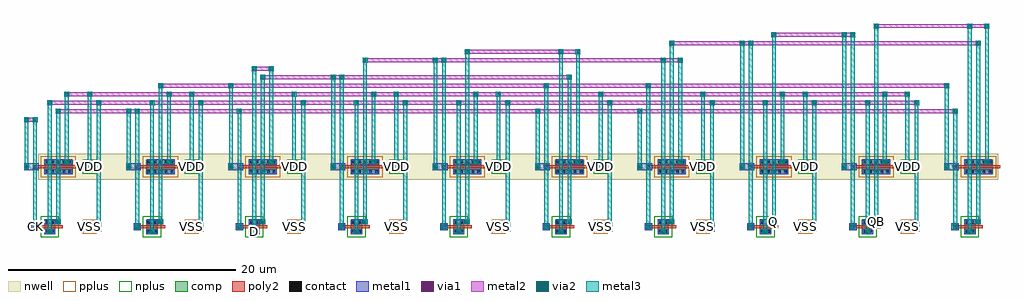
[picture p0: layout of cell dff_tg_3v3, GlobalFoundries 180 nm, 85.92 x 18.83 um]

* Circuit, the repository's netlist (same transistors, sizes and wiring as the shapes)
* Extracted by KLayout with GF180MCU LVS runset on : 09/09/2026 01:10

.SUBCKT dff_tg_3v3 VSS D Q QB VDD CK
M$1 VDD \$8 Q VDD pfet_03v3 L=0.28U W=2.5U AS=1.25P AD=1.25P PS=6U PD=6U
M$2 \$7 \$3 \$5 VDD pfet_03v3 L=0.28U W=2.5U AS=1.25P AD=1.25P PS=6U PD=6U
M$3 VDD \$5 \$6 VDD pfet_03v3 L=0.28U W=2.5U AS=1.25P AD=1.25P PS=6U PD=6U
M$4 VDD CK \$3 VDD pfet_03v3 L=0.28U W=2.5U AS=1.25P AD=1.25P PS=6U PD=6U
M$5 VDD \$3 \$4 VDD pfet_03v3 L=0.28U W=2.5U AS=1.25P AD=1.25P PS=6U PD=6U
M$6 D \$4 \$5 VDD pfet_03v3 L=0.28U W=2.5U AS=1.25P AD=1.25P PS=6U PD=6U
M$7 \$6 \$3 \$8 VDD pfet_03v3 L=0.28U W=2.5U AS=1.25P AD=1.25P PS=6U PD=6U
M$8 VDD \$6 \$7 VDD pfet_03v3 L=0.28U W=2.5U AS=1.25P AD=1.25P PS=6U PD=6U
M$9 VDD Q QB VDD pfet_03v3 L=0.28U W=2.5U AS=1.25P AD=1.25P PS=6U PD=6U
M$10 QB \$4 \$8 VDD pfet_03v3 L=0.28U W=2.5U AS=1.25P AD=1.25P PS=6U PD=6U
M$11 \$8 \$3 QB VSS nfet_03v3 L=0.28U W=1U AS=0.5P AD=0.5P PS=3U PD=3U
M$12 QB Q VSS VSS nfet_03v3 L=0.28U W=1U AS=0.5P AD=0.5P PS=3U PD=3U
M$13 Q \$8 VSS VSS nfet_03v3 L=0.28U W=1U AS=0.5P AD=0.5P PS=3U PD=3U
M$14 \$6 \$5 VSS VSS nfet_03v3 L=0.28U W=1U AS=0.5P AD=0.5P PS=3U PD=3U
M$15 \$3 CK VSS VSS nfet_03v3 L=0.28U W=1U AS=0.5P AD=0.5P PS=3U PD=3U
M$16 \$8 \$4 \$6 VSS nfet_03v3 L=0.28U W=1U AS=0.5P AD=0.5P PS=3U PD=3U
M$17 \$4 \$3 VSS VSS nfet_03v3 L=0.28U W=1U AS=0.5P AD=0.5P PS=3U PD=3U
M$18 \$5 \$3 D VSS nfet_03v3 L=0.28U W=1U AS=0.5P AD=0.5P PS=3U PD=3U
M$19 \$7 \$6 VSS VSS nfet_03v3 L=0.28U W=1U AS=0.5P AD=0.5P PS=3U PD=3U
M$20 \$5 \$4 \$7 VSS nfet_03v3 L=0.28U W=1U AS=0.5P AD=0.5P PS=3U PD=3U
.ENDS dff_tg_3v3

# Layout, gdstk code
import gdstk
lib = gdstk.Library(unit=1e-6, precision=1e-09)
def R(c, l, rs):  # rectangles x0, y0, x1, y1
    for r in rs: c.add(gdstk.rectangle(r[:2], r[2:], *l))
def A(c, l, x, y, w, h, nx, ny, dx, dy):  # array of equal rectangles
    R(c, l, [(x+i*dx, y+j*dy, x+i*dx+w, y+j*dy+h) for i in range(nx) for j in range(ny)])
nwell = (21, 0)
comp = (22, 0)
poly2 = (30, 0)
pplus = (31, 0)
nplus = (32, 0)
contact = (33, 0)
metal1 = (34, 0)
via1 = (35, 0)
metal2 = (36, 0)
via2 = (38, 0)
metal3 = (42, 0)

dff_tg_3v3 = lib.new_cell('dff_tg_3v3')
R(dff_tg_3v3, nwell, [(-0.5,4.78,84,7.06)])
A(dff_tg_3v3, comp, 0, 0, 1, 1.28, 10, 1, 9, 0)
A(dff_tg_3v3, comp, 3.7, 0.34, 0.6, 0.6, 9, 2, 9, 5.28)
A(dff_tg_3v3, comp, 0, 5.28, 2.5, 1.28, 10, 1, 9, 0)
A(dff_tg_3v3, poly2, -1, 0.44, 0.4, 0.4, 10, 2, 9, 5.28)
A(dff_tg_3v3, poly2, -0.65, 0.5, 2.3, 0.28, 10, 1, 9, 0)
A(dff_tg_3v3, poly2, -0.65, 5.78, 3.8, 0.28, 10, 1, 9, 0)
A(dff_tg_3v3, pplus, 3.4, 0.04, 1.2, 1.2, 9, 1, 9, 0)
A(dff_tg_3v3, pplus, -0.3, 4.98, 3.1, 1.88, 10, 1, 9, 0)
A(dff_tg_3v3, nplus, -0.3, -0.3, 1.6, 1.88, 10, 1, 9, 0)
A(dff_tg_3v3, nplus, 3.4, 5.32, 1.2, 1.2, 9, 1, 9, 0)
A(dff_tg_3v3, contact, 0.14, 5.38, 0.22, 0.22, 5, 2, 0.5, 0.86)
A(dff_tg_3v3, contact, 9.14, 5.38, 0.22, 0.22, 5, 2, 0.5, 0.86)
A(dff_tg_3v3, contact, 18.14, 5.38, 0.22, 0.22, 5, 2, 0.5, 0.86)
A(dff_tg_3v3, contact, 27.14, 5.38, 0.22, 0.22, 5, 2, 0.5, 0.86)
A(dff_tg_3v3, contact, 36.14, 5.38, 0.22, 0.22, 5, 2, 0.5, 0.86)
A(dff_tg_3v3, contact, 45.14, 5.38, 0.22, 0.22, 5, 2, 0.5, 0.86)
A(dff_tg_3v3, contact, 54.14, 5.38, 0.22, 0.22, 5, 2, 0.5, 0.86)
A(dff_tg_3v3, contact, 63.14, 5.38, 0.22, 0.22, 5, 2, 0.5, 0.86)
A(dff_tg_3v3, contact, 72.14, 5.38, 0.22, 0.22, 5, 2, 0.5, 0.86)
A(dff_tg_3v3, contact, 81.14, 5.38, 0.22, 0.22, 5, 2, 0.5, 0.86)
R(dff_tg_3v3, contact, [(0.14,0.1,0.36,0.32), (0.64,0.1,0.86,0.32), (9.14,0.1,9.36,0.32), (9.64,0.1,9.86,0.32), (18.14,0.1,18.36,0.32), (18.64,0.1,18.86,0.32), (27.14,0.1,27.36,0.32), (27.64,0.1,27.86,0.32), (36.14,0.1,36.36,0.32), (36.64,0.1,36.86,0.32), (45.14,0.1,45.36,0.32), (45.64,0.1,45.86,0.32), (54.14,0.1,54.36,0.32), (54.64,0.1,54.86,0.32), (63.14,0.1,63.36,0.32), (63.64,0.1,63.86,0.32), (72.14,0.1,72.36,0.32), (72.64,0.1,72.86,0.32), (81.14,0.1,81.36,0.32), (81.64,0.1,81.86,0.32), (-0.91,0.53,-0.69,0.75), (3.89,0.53,4.11,0.75), (8.09,0.53,8.31,0.75), (12.89,0.53,13.11,0.75), (17.09,0.53,17.31,0.75), (21.89,0.53,22.11,0.75), (26.09,0.53,26.31,0.75), (30.89,0.53,31.11,0.75), (35.09,0.53,35.31,0.75), (39.89,0.53,40.11,0.75), (44.09,0.53,44.31,0.75), (48.89,0.53,49.11,0.75), (53.09,0.53,53.31,0.75), (57.89,0.53,58.11,0.75), (62.09,0.53,62.31,0.75), (66.89,0.53,67.11,0.75), (71.09,0.53,71.31,0.75), (75.89,0.53,76.11,0.75), (80.09,0.53,80.31,0.75), (0.14,0.96,0.36,1.18), (0.64,0.96,0.86,1.18), (9.14,0.96,9.36,1.18), (9.64,0.96,9.86,1.18), (18.14,0.96,18.36,1.18), (18.64,0.96,18.86,1.18), (27.14,0.96,27.36,1.18), (27.64,0.96,27.86,1.18), (36.14,0.96,36.36,1.18), (36.64,0.96,36.86,1.18), (45.14,0.96,45.36,1.18), (45.64,0.96,45.86,1.18), (54.14,0.96,54.36,1.18), (54.64,0.96,54.86,1.18), (63.14,0.96,63.36,1.18), (63.64,0.96,63.86,1.18), (72.14,0.96,72.36,1.18), (72.64,0.96,72.86,1.18), (81.14,0.96,81.36,1.18), (81.64,0.96,81.86,1.18), (-0.91,5.81,-0.69,6.03), (3.89,5.81,4.11,6.03), (8.09,5.81,8.31,6.03), (12.89,5.81,13.11,6.03), (17.09,5.81,17.31,6.03), (21.89,5.81,22.11,6.03), (26.09,5.81,26.31,6.03), (30.89,5.81,31.11,6.03), (35.09,5.81,35.31,6.03), (39.89,5.81,40.11,6.03), (44.09,5.81,44.31,6.03), (48.89,5.81,49.11,6.03), (53.09,5.81,53.31,6.03), (57.89,5.81,58.11,6.03), (62.09,5.81,62.31,6.03), (66.89,5.81,67.11,6.03), (71.09,5.81,71.31,6.03), (75.89,5.81,76.11,6.03), (80.09,5.81,80.31,6.03)])
A(dff_tg_3v3, metal1, 0.02, -0.02, 0.96, 0.46, 10, 2, 9, 0.86)
A(dff_tg_3v3, metal1, 0.28, -0.01, 0.44, 0.44, 10, 1, 9, 0)
A(dff_tg_3v3, metal1, 3.58, 0.22, 1.44, 0.84, 9, 1, 9, 0)
A(dff_tg_3v3, metal1, 3.58, 0.22, 0.84, 0.84, 9, 2, 9, 5.28)
A(dff_tg_3v3, metal1, -1.12, 0.32, 0.64, 0.64, 10, 2, 9, 5.28)
A(dff_tg_3v3, metal1, 0.02, 0.84, 1.45, 0.46, 10, 1, 9, 0)
A(dff_tg_3v3, metal1, 1.03, 0.85, 0.44, 0.44, 10, 2, 9, 4.42)
A(dff_tg_3v3, metal1, 0.02, 5.26, 2.46, 0.46, 10, 2, 9, 0.86)
A(dff_tg_3v3, metal1, -1.77, 5.6, 1.29, 0.64, 10, 1, 9, 0)
A(dff_tg_3v3, metal1, 1.78, 6.13, 0.44, 0.44, 10, 1, 9, 0)
R(dff_tg_3v3, metal1, [(-1.02,0.42,-0.58,0.86), (4.58,0.42,5.02,0.86), (7.98,0.42,8.42,0.86), (13.58,0.42,14.02,0.86), (16.98,0.42,17.42,0.86), (22.58,0.42,23.02,0.86), (25.98,0.42,26.42,0.86), (31.58,0.42,32.02,0.86), (34.98,0.42,35.42,0.86), (40.58,0.42,41.02,0.86), (43.98,0.42,44.42,0.86), (49.58,0.42,50.02,0.86), (52.98,0.42,53.42,0.86), (58.58,0.42,59.02,0.86), (61.98,0.42,62.42,0.86), (67.58,0.42,68.02,0.86), (70.98,0.42,71.42,0.86), (76.58,0.42,77.02,0.86), (79.98,0.42,80.42,0.86), (-1.77,5.7,-1.33,6.14), (3.78,5.7,4.22,6.14), (7.23,5.7,7.67,6.14), (12.78,5.7,13.22,6.14), (16.23,5.7,16.67,6.14), (21.78,5.7,22.22,6.14), (25.23,5.7,25.67,6.14), (30.78,5.7,31.22,6.14), (34.23,5.7,34.67,6.14), (39.78,5.7,40.22,6.14), (43.23,5.7,43.67,6.14), (48.78,5.7,49.22,6.14), (52.23,5.7,52.67,6.14), (57.78,5.7,58.22,6.14), (61.23,5.7,61.67,6.14), (66.78,5.7,67.22,6.14), (70.23,5.7,70.67,6.14), (75.78,5.7,76.22,6.14), (79.23,5.7,79.67,6.14)])
A(dff_tg_3v3, via1, 0.37, 0.08, 0.26, 0.26, 10, 1, 9, 0)
A(dff_tg_3v3, via1, 1.12, 0.94, 0.26, 0.26, 10, 2, 9, 4.42)
A(dff_tg_3v3, via1, 1.87, 6.22, 0.26, 0.26, 10, 1, 9, 0)
R(dff_tg_3v3, via1, [(-0.93,0.51,-0.67,0.77), (4.67,0.51,4.93,0.77), (8.07,0.51,8.33,0.77), (13.67,0.51,13.93,0.77), (17.07,0.51,17.33,0.77), (22.67,0.51,22.93,0.77), (26.07,0.51,26.33,0.77), (31.67,0.51,31.93,0.77), (35.07,0.51,35.33,0.77), (40.67,0.51,40.93,0.77), (44.07,0.51,44.33,0.77), (49.67,0.51,49.93,0.77), (53.07,0.51,53.33,0.77), (58.67,0.51,58.93,0.77), (62.07,0.51,62.33,0.77), (67.67,0.51,67.93,0.77), (71.07,0.51,71.33,0.77), (76.67,0.51,76.93,0.77), (80.07,0.51,80.33,0.77), (-1.68,5.79,-1.42,6.05), (3.87,5.79,4.13,6.05), (7.32,5.79,7.58,6.05), (12.87,5.79,13.13,6.05), (16.32,5.79,16.58,6.05), (21.87,5.79,22.13,6.05), (25.32,5.79,25.58,6.05), (30.87,5.79,31.13,6.05), (34.32,5.79,34.58,6.05), (39.87,5.79,40.13,6.05), (43.32,5.79,43.58,6.05), (48.87,5.79,49.13,6.05), (52.32,5.79,52.58,6.05), (57.87,5.79,58.13,6.05), (61.32,5.79,61.58,6.05), (66.87,5.79,67.13,6.05), (70.32,5.79,70.58,6.05), (75.87,5.79,76.13,6.05), (79.32,5.79,79.58,6.05)])
A(dff_tg_3v3, metal2, 0.28, -0.01, 0.44, 0.44, 10, 1, 9, 0)
A(dff_tg_3v3, metal2, 1.03, 0.85, 0.44, 0.44, 10, 2, 9, 4.42)
A(dff_tg_3v3, metal2, 1.78, 6.13, 0.44, 0.44, 10, 1, 9, 0)
A(dff_tg_3v3, metal2, 40.58, 11.34, 0.44, 0.44, 3, 1, 9, 0)
A(dff_tg_3v3, metal2, 39.78, 12.09, 0.44, 0.44, 3, 1, 9, 0)
R(dff_tg_3v3, metal2, [(-1.02,0.42,-0.58,0.86), (4.58,0.42,5.02,0.86), (7.98,0.42,8.42,0.86), (13.58,0.42,14.02,0.86), (16.98,0.42,17.42,0.86), (22.58,0.42,23.02,0.86), (25.98,0.42,26.42,0.86), (31.58,0.42,32.02,0.86), (34.98,0.42,35.42,0.86), (40.58,0.42,41.02,0.86), (43.98,0.42,44.42,0.86), (49.58,0.42,50.02,0.86), (52.98,0.42,53.42,0.86), (58.58,0.42,59.02,0.86), (61.98,0.42,62.42,0.86), (67.58,0.42,68.02,0.86), (70.98,0.42,71.42,0.86), (76.58,0.42,77.02,0.86), (79.98,0.42,80.42,0.86), (-1.77,5.7,-1.33,6.14), (3.78,5.7,4.22,6.14), (7.23,5.7,7.67,6.14), (12.78,5.7,13.22,6.14), (16.23,5.7,16.67,6.14), (21.78,5.7,22.22,6.14), (25.23,5.7,25.67,6.14), (30.78,5.7,31.22,6.14), (34.23,5.7,34.67,6.14), (39.78,5.7,40.22,6.14), (43.23,5.7,43.67,6.14), (48.78,5.7,49.22,6.14), (52.23,5.7,52.67,6.14), (57.78,5.7,58.22,6.14), (61.23,5.7,61.67,6.14), (66.78,5.7,67.22,6.14), (70.23,5.7,70.67,6.14), (75.78,5.7,76.22,6.14), (79.23,5.7,79.67,6.14), (-1.77,9.84,-1.33,10.28), (-1.02,9.84,-0.58,10.28), (-1.72,9.89,-0.63,10.23), (1.03,10.59,1.47,11.03), (1.03,10.59,1.47,11.03), (7.23,10.59,7.67,11.03), (7.98,10.59,8.42,11.03), (16.98,10.59,17.42,11.03), (43.23,10.59,43.67,11.03), (52.23,10.59,52.67,11.03), (79.98,10.59,80.42,11.03), (1.08,10.64,80.37,10.98), (0.28,11.34,0.72,11.78), (4.58,11.34,5.02,11.78), (9.28,11.34,9.72,11.78), (13.58,11.34,14.02,11.78), (22.58,11.34,23.02,11.78), (27.28,11.34,27.72,11.78), (31.58,11.34,32.02,11.78), (36.28,11.34,36.72,11.78), (63.28,11.34,63.72,11.78), (67.58,11.34,68.02,11.78), (72.28,11.34,72.72,11.78), (76.58,11.34,77.02,11.78), (0.33,11.39,76.97,11.73), (1.78,12.09,2.22,12.53), (3.78,12.09,4.22,12.53), (10.78,12.09,11.22,12.53), (12.78,12.09,13.22,12.53), (21.78,12.09,22.22,12.53), (28.78,12.09,29.22,12.53), (30.78,12.09,31.22,12.53), (37.78,12.09,38.22,12.53), (64.78,12.09,65.22,12.53), (66.78,12.09,67.22,12.53), (73.78,12.09,74.22,12.53), (75.78,12.09,76.22,12.53), (1.83,12.14,76.17,12.48), (10.03,12.84,10.47,13.28), (10.03,12.84,10.47,13.28), (16.23,12.84,16.67,13.28), (43.98,12.84,44.42,13.28), (52.98,12.84,53.42,13.28), (79.23,12.84,79.67,13.28), (10.08,12.89,79.62,13.23), (19.03,13.59,19.47,14.03), (19.03,13.59,19.47,14.03), (25.23,13.59,25.67,14.03), (25.98,13.59,26.42,14.03), (46.03,13.59,46.47,14.03), (46.03,13.59,46.47,14.03), (19.08,13.64,46.42,13.98), (18.28,14.34,18.72,14.78), (19.78,14.34,20.22,14.78), (18.33,14.39,20.17,14.73), (28.03,15.09,28.47,15.53), (28.03,15.09,28.47,15.53), (34.23,15.09,34.67,15.53), (34.98,15.09,35.42,15.53), (54.28,15.09,54.72,15.53), (55.78,15.09,56.22,15.53), (28.08,15.14,56.17,15.48), (37.03,15.84,37.47,16.28), (37.03,15.84,37.47,16.28), (45.28,15.84,45.72,16.28), (46.78,15.84,47.22,16.28), (37.08,15.89,47.17,16.23), (55.03,16.59,55.47,17.03), (55.03,16.59,55.47,17.03), (61.23,16.59,61.67,17.03), (61.98,16.59,62.42,17.03), (82.03,16.59,82.47,17.03), (82.03,16.59,82.47,17.03), (55.08,16.64,82.42,16.98), (64.03,17.34,64.47,17.78), (64.03,17.34,64.47,17.78), (70.23,17.34,70.67,17.78), (70.98,17.34,71.42,17.78), (64.08,17.39,71.37,17.73), (73.03,18.09,73.47,18.53), (73.03,18.09,73.47,18.53), (81.28,18.09,81.72,18.53), (82.78,18.09,83.22,18.53), (73.08,18.14,83.17,18.48)])
A(dff_tg_3v3, via2, 0.37, 0.08, 0.26, 0.26, 10, 1, 9, 0)
A(dff_tg_3v3, via2, 1.12, 0.94, 0.26, 0.26, 10, 2, 9, 4.42)
A(dff_tg_3v3, via2, 1.87, 6.22, 0.26, 0.26, 10, 1, 9, 0)
A(dff_tg_3v3, via2, 40.67, 11.43, 0.26, 0.26, 3, 1, 9, 0)
A(dff_tg_3v3, via2, 39.87, 12.18, 0.26, 0.26, 3, 1, 9, 0)
R(dff_tg_3v3, via2, [(-0.93,0.51,-0.67,0.77), (4.67,0.51,4.93,0.77), (8.07,0.51,8.33,0.77), (13.67,0.51,13.93,0.77), (17.07,0.51,17.33,0.77), (22.67,0.51,22.93,0.77), (26.07,0.51,26.33,0.77), (31.67,0.51,31.93,0.77), (35.07,0.51,35.33,0.77), (40.67,0.51,40.93,0.77), (44.07,0.51,44.33,0.77), (49.67,0.51,49.93,0.77), (53.07,0.51,53.33,0.77), (58.67,0.51,58.93,0.77), (62.07,0.51,62.33,0.77), (67.67,0.51,67.93,0.77), (71.07,0.51,71.33,0.77), (76.67,0.51,76.93,0.77), (80.07,0.51,80.33,0.77), (-1.68,5.79,-1.42,6.05), (3.87,5.79,4.13,6.05), (7.32,5.79,7.58,6.05), (12.87,5.79,13.13,6.05), (16.32,5.79,16.58,6.05), (21.87,5.79,22.13,6.05), (25.32,5.79,25.58,6.05), (30.87,5.79,31.13,6.05), (34.32,5.79,34.58,6.05), (39.87,5.79,40.13,6.05), (43.32,5.79,43.58,6.05), (48.87,5.79,49.13,6.05), (52.32,5.79,52.58,6.05), (57.87,5.79,58.13,6.05), (61.32,5.79,61.58,6.05), (66.87,5.79,67.13,6.05), (70.32,5.79,70.58,6.05), (75.87,5.79,76.13,6.05), (79.32,5.79,79.58,6.05), (-1.68,9.93,-1.42,10.19), (-0.93,9.93,-0.67,10.19), (1.12,10.68,1.38,10.94), (1.12,10.68,1.38,10.94), (7.32,10.68,7.58,10.94), (8.07,10.68,8.33,10.94), (17.07,10.68,17.33,10.94), (43.32,10.68,43.58,10.94), (52.32,10.68,52.58,10.94), (80.07,10.68,80.33,10.94), (0.37,11.43,0.63,11.69), (4.67,11.43,4.93,11.69), (9.37,11.43,9.63,11.69), (13.67,11.43,13.93,11.69), (22.67,11.43,22.93,11.69), (27.37,11.43,27.63,11.69), (31.67,11.43,31.93,11.69), (36.37,11.43,36.63,11.69), (63.37,11.43,63.63,11.69), (67.67,11.43,67.93,11.69), (72.37,11.43,72.63,11.69), (76.67,11.43,76.93,11.69), (1.87,12.18,2.13,12.44), (3.87,12.18,4.13,12.44), (10.87,12.18,11.13,12.44), (12.87,12.18,13.13,12.44), (21.87,12.18,22.13,12.44), (28.87,12.18,29.13,12.44), (30.87,12.18,31.13,12.44), (37.87,12.18,38.13,12.44), (64.87,12.18,65.13,12.44), (66.87,12.18,67.13,12.44), (73.87,12.18,74.13,12.44), (75.87,12.18,76.13,12.44), (10.12,12.93,10.38,13.19), (10.12,12.93,10.38,13.19), (16.32,12.93,16.58,13.19), (44.07,12.93,44.33,13.19), (53.07,12.93,53.33,13.19), (79.32,12.93,79.58,13.19), (19.12,13.68,19.38,13.94), (19.12,13.68,19.38,13.94), (25.32,13.68,25.58,13.94), (26.07,13.68,26.33,13.94), (46.12,13.68,46.38,13.94), (46.12,13.68,46.38,13.94), (18.37,14.43,18.63,14.69), (19.87,14.43,20.13,14.69), (28.12,15.18,28.38,15.44), (28.12,15.18,28.38,15.44), (34.32,15.18,34.58,15.44), (35.07,15.18,35.33,15.44), (54.37,15.18,54.63,15.44), (55.87,15.18,56.13,15.44), (37.12,15.93,37.38,16.19), (37.12,15.93,37.38,16.19), (45.37,15.93,45.63,16.19), (46.87,15.93,47.13,16.19), (55.12,16.68,55.38,16.94), (55.12,16.68,55.38,16.94), (61.32,16.68,61.58,16.94), (62.07,16.68,62.33,16.94), (82.12,16.68,82.38,16.94), (82.12,16.68,82.38,16.94), (64.12,17.43,64.38,17.69), (64.12,17.43,64.38,17.69), (70.32,17.43,70.58,17.69), (71.07,17.43,71.33,17.69), (73.12,18.18,73.38,18.44), (73.12,18.18,73.38,18.44), (81.37,18.18,81.63,18.44), (82.87,18.18,83.13,18.44)])
A(dff_tg_3v3, metal3, 0.28, -0.01, 0.44, 0.44, 10, 1, 9, 0)
A(dff_tg_3v3, metal3, 4.63, 0.64, 0.34, 10.92, 9, 1, 9, 0)
A(dff_tg_3v3, metal3, 1.03, 0.85, 0.44, 0.44, 10, 2, 9, 4.42)
A(dff_tg_3v3, metal3, 3.83, 5.92, 0.34, 6.39, 9, 1, 9, 0)
A(dff_tg_3v3, metal3, 1.78, 6.13, 0.44, 0.44, 10, 1, 9, 0)
A(dff_tg_3v3, metal3, 40.58, 11.34, 0.44, 0.44, 3, 1, 9, 0)
A(dff_tg_3v3, metal3, 39.78, 12.09, 0.44, 0.44, 3, 1, 9, 0)
R(dff_tg_3v3, metal3, [(0.33,0.21,0.67,11.56), (9.33,0.21,9.67,11.56), (18.33,0.21,18.67,14.56), (27.33,0.21,27.67,11.56), (36.33,0.21,36.67,11.56), (45.33,0.21,45.67,16.06), (54.33,0.21,54.67,15.31), (63.33,0.21,63.67,11.56), (72.33,0.21,72.67,11.56), (81.33,0.21,81.67,18.31), (-1.02,0.42,-0.58,0.86), (4.58,0.42,5.02,0.86), (7.98,0.42,8.42,0.86), (13.58,0.42,14.02,0.86), (16.98,0.42,17.42,0.86), (22.58,0.42,23.02,0.86), (25.98,0.42,26.42,0.86), (31.58,0.42,32.02,0.86), (34.98,0.42,35.42,0.86), (40.58,0.42,41.02,0.86), (43.98,0.42,44.42,0.86), (49.58,0.42,50.02,0.86), (52.98,0.42,53.42,0.86), (58.58,0.42,59.02,0.86), (61.98,0.42,62.42,0.86), (67.58,0.42,68.02,0.86), (70.98,0.42,71.42,0.86), (76.58,0.42,77.02,0.86), (79.98,0.42,80.42,0.86), (-0.97,0.64,-0.63,10.06), (8.03,0.64,8.37,10.81), (17.03,0.64,17.37,10.81), (26.03,0.64,26.37,13.81), (35.03,0.64,35.37,15.31), (44.03,0.64,44.37,13.06), (53.03,0.64,53.37,13.06), (62.03,0.64,62.37,16.81), (71.03,0.64,71.37,17.56), (80.03,0.64,80.37,10.81), (1.08,1.07,1.42,10.81), (10.08,1.07,10.42,13.06), (19.08,1.07,19.42,13.81), (28.08,1.07,28.42,15.31), (37.08,1.07,37.42,16.06), (46.08,1.07,46.42,13.81), (55.08,1.07,55.42,16.81), (64.08,1.07,64.42,17.56), (73.08,1.07,73.42,18.31), (82.08,1.07,82.42,16.81), (1.08,5.49,1.42,10.81), (10.08,5.49,10.42,13.06), (19.08,5.49,19.42,13.81), (28.08,5.49,28.42,15.31), (37.08,5.49,37.42,16.06), (46.08,5.49,46.42,13.81), (55.08,5.49,55.42,16.81), (64.08,5.49,64.42,17.56), (73.08,5.49,73.42,18.31), (82.08,5.49,82.42,16.81), (-1.77,5.7,-1.33,6.14), (3.78,5.7,4.22,6.14), (7.23,5.7,7.67,6.14), (12.78,5.7,13.22,6.14), (16.23,5.7,16.67,6.14), (21.78,5.7,22.22,6.14), (25.23,5.7,25.67,6.14), (30.78,5.7,31.22,6.14), (34.23,5.7,34.67,6.14), (39.78,5.7,40.22,6.14), (43.23,5.7,43.67,6.14), (48.78,5.7,49.22,6.14), (52.23,5.7,52.67,6.14), (57.78,5.7,58.22,6.14), (61.23,5.7,61.67,6.14), (66.78,5.7,67.22,6.14), (70.23,5.7,70.67,6.14), (75.78,5.7,76.22,6.14), (79.23,5.7,79.67,6.14), (-1.72,5.92,-1.38,10.06), (7.28,5.92,7.62,10.81), (16.28,5.92,16.62,13.06), (25.28,5.92,25.62,13.81), (34.28,5.92,34.62,15.31), (43.28,5.92,43.62,10.81), (52.28,5.92,52.62,10.81), (61.28,5.92,61.62,16.81), (70.28,5.92,70.62,17.56), (79.28,5.92,79.62,13.06), (1.83,6.35,2.17,12.31), (10.83,6.35,11.17,12.31), (19.83,6.35,20.17,14.56), (28.83,6.35,29.17,12.31), (37.83,6.35,38.17,12.31), (46.83,6.35,47.17,16.06), (55.83,6.35,56.17,15.31), (64.83,6.35,65.17,12.31), (73.83,6.35,74.17,12.31), (82.83,6.35,83.17,18.31), (-1.77,9.84,-1.33,10.28), (-1.02,9.84,-0.58,10.28), (1.03,10.59,1.47,11.03), (1.03,10.59,1.47,11.03), (7.23,10.59,7.67,11.03), (7.98,10.59,8.42,11.03), (16.98,10.59,17.42,11.03), (43.23,10.59,43.67,11.03), (52.23,10.59,52.67,11.03), (79.98,10.59,80.42,11.03), (0.28,11.34,0.72,11.78), (4.58,11.34,5.02,11.78), (9.28,11.34,9.72,11.78), (13.58,11.34,14.02,11.78), (22.58,11.34,23.02,11.78), (27.28,11.34,27.72,11.78), (31.58,11.34,32.02,11.78), (36.28,11.34,36.72,11.78), (63.28,11.34,63.72,11.78), (67.58,11.34,68.02,11.78), (72.28,11.34,72.72,11.78), (76.58,11.34,77.02,11.78), (1.78,12.09,2.22,12.53), (3.78,12.09,4.22,12.53), (10.78,12.09,11.22,12.53), (12.78,12.09,13.22,12.53), (21.78,12.09,22.22,12.53), (28.78,12.09,29.22,12.53), (30.78,12.09,31.22,12.53), (37.78,12.09,38.22,12.53), (64.78,12.09,65.22,12.53), (66.78,12.09,67.22,12.53), (73.78,12.09,74.22,12.53), (75.78,12.09,76.22,12.53), (10.03,12.84,10.47,13.28), (10.03,12.84,10.47,13.28), (16.23,12.84,16.67,13.28), (43.98,12.84,44.42,13.28), (52.98,12.84,53.42,13.28), (79.23,12.84,79.67,13.28), (19.03,13.59,19.47,14.03), (19.03,13.59,19.47,14.03), (25.23,13.59,25.67,14.03), (25.98,13.59,26.42,14.03), (46.03,13.59,46.47,14.03), (46.03,13.59,46.47,14.03), (18.28,14.34,18.72,14.78), (19.78,14.34,20.22,14.78), (28.03,15.09,28.47,15.53), (28.03,15.09,28.47,15.53), (34.23,15.09,34.67,15.53), (34.98,15.09,35.42,15.53), (54.28,15.09,54.72,15.53), (55.78,15.09,56.22,15.53), (37.03,15.84,37.47,16.28), (37.03,15.84,37.47,16.28), (45.28,15.84,45.72,16.28), (46.78,15.84,47.22,16.28), (55.03,16.59,55.47,17.03), (55.03,16.59,55.47,17.03), (61.23,16.59,61.67,17.03), (61.98,16.59,62.42,17.03), (82.03,16.59,82.47,17.03), (82.03,16.59,82.47,17.03), (64.03,17.34,64.47,17.78), (64.03,17.34,64.47,17.78), (70.23,17.34,70.67,17.78), (70.98,17.34,71.42,17.78), (73.03,18.09,73.47,18.53), (73.03,18.09,73.47,18.53), (81.28,18.09,81.72,18.53), (82.78,18.09,83.22,18.53)])
dff_tg_3v3.add(gdstk.Label('VDD', (4,5.92), layer=34, texttype=10))
dff_tg_3v3.add(gdstk.Label('VSS', (4,0.64), layer=34, texttype=10))
dff_tg_3v3.add(gdstk.Label('VDD', (13,5.92), layer=34, texttype=10))
dff_tg_3v3.add(gdstk.Label('VSS', (13,0.64), layer=34, texttype=10))
dff_tg_3v3.add(gdstk.Label('VDD', (22,5.92), layer=34, texttype=10))
dff_tg_3v3.add(gdstk.Label('VSS', (22,0.64), layer=34, texttype=10))
dff_tg_3v3.add(gdstk.Label('VDD', (31,5.92), layer=34, texttype=10))
dff_tg_3v3.add(gdstk.Label('VSS', (31,0.64), layer=34, texttype=10))
dff_tg_3v3.add(gdstk.Label('VDD', (40,5.92), layer=34, texttype=10))
dff_tg_3v3.add(gdstk.Label('VSS', (40,0.64), layer=34, texttype=10))
dff_tg_3v3.add(gdstk.Label('VDD', (49,5.92), layer=34, texttype=10))
dff_tg_3v3.add(gdstk.Label('VSS', (49,0.64), layer=34, texttype=10))
dff_tg_3v3.add(gdstk.Label('VDD', (58,5.92), layer=34, texttype=10))
dff_tg_3v3.add(gdstk.Label('VSS', (58,0.64), layer=34, texttype=10))
dff_tg_3v3.add(gdstk.Label('VDD', (67,5.92), layer=34, texttype=10))
dff_tg_3v3.add(gdstk.Label('VSS', (67,0.64), layer=34, texttype=10))
dff_tg_3v3.add(gdstk.Label('VDD', (76,5.92), layer=34, texttype=10))
dff_tg_3v3.add(gdstk.Label('VSS', (76,0.64), layer=34, texttype=10))
dff_tg_3v3.add(gdstk.Label('D', (18.5,0.21), layer=34, texttype=10))
dff_tg_3v3.add(gdstk.Label('CK', (-0.8,0.64), layer=34, texttype=10))
dff_tg_3v3.add(gdstk.Label('Q', (64.25,1.07), layer=34, texttype=10))
dff_tg_3v3.add(gdstk.Label('QB', (73.25,1.07), layer=34, texttype=10))
dff_tg_3v3.add(gdstk.Label('VDD', (2,6.35), layer=34, texttype=10))
dff_tg_3v3.add(gdstk.Label('VSS', (0.5,0.21), layer=34, texttype=10))

lib.write_gds('dff_tg_3v3.gds')
